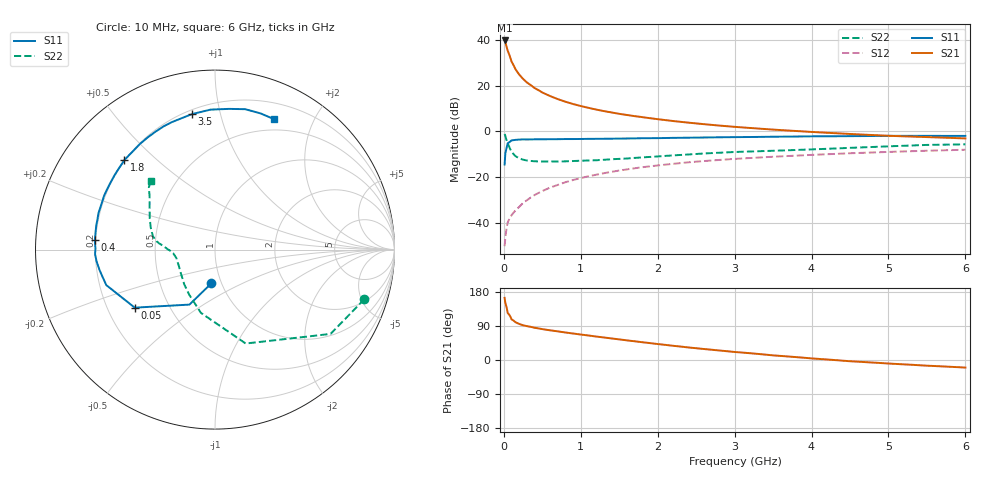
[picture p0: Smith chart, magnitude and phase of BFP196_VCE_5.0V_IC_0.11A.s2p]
! Infineon Technologies  Discrete & RF Semiconductors
! BFP196
! VCE =  5.0 V,  IC = 0.11 A
! Common Emitter S-Parameters:  Jan 2017
# GHz  S  MA  R  50
!  f  S11  S21  S12  S22
! GHz  MAG  ANG  MAG  ANG  MAG  ANG  MAG  ANG
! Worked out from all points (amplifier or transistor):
!   77 points, 10 MHz to 6 GHz, reference 50 ohm
!   highest |S21| = 39.8 dB at 10 MHz (marker M1)
!   |S21| within 3 dB of that: start of sweep to 37.68 MHz
!   unconditionally stable (mu >= 1): 377.6 MHz to 2.387 GHz
!   at 130 MHz: K = 0.78, MSG = 32.0 dB, |S12| = -35.4 dB
!   at 2.2 GHz: K = 1.01, MAG = 8.8 dB, |S12| = -14.2 dB
!   at 6 GHz: K = 0.95, MSG = 2.5 dB, |S12| = -8.0 dB
!   S11 on the Smith chart (normalised r, x): 10 MHz: 0.90, -0.35; 50 MHz: 0.32, -0.29; 400 MHz: 0.20, +0.04; 1.8 GHz: 0.20, +0.40; 3.5 GHz: 0.22, +0.82; 6 GHz: 0.37, +1.48
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0.01  0.1886 -96.0  97.27 163.9  0.0031 80.3  0.8767 -18.4
0.02  0.3378 -114.9  88.67 150.1  0.0049 73.2  0.797 -36.1
0.05  0.5518 -144.1  58.14 124.0  0.0102 56.9  0.5505 -71.9
0.1  0.6372 -161.9  33.52 107.1  0.0147 58.0  0.3609 -102.6
0.15  0.6532 -169.9  23.02 99.8  0.0186 62.2  0.289 -119.9
0.2  0.663 -174.3  17.46 95.1  0.0224 66.4  0.2585 -131.5
0.25  0.6688 -177.9  14.03 91.7  0.0273 67.7  0.241 -139.2
0.3  0.666 179.6  11.73 89.3  0.0313 68.6  0.2312 -145.6
0.4  0.6715 175.4  8.86 85.0  0.0407 70.9  0.2224 -153.6
0.5  0.6725 171.6  7.093 81.5  0.0496 71.0  0.2197 -159.0
0.6  0.6751 168.4  5.934 78.4  0.0591 70.5  0.2205 -163.3
0.7  0.6764 165.5  5.091 75.6  0.0675 70.6  0.2197 -166.4
0.9  0.6805 159.7  3.965 69.9  0.0867 68.5  0.2251 -170.5
1.1  0.687 154.1  3.272 64.7  0.1045 66.6  0.2314 -173.8
1.4  0.693 145.9  2.596 56.9  0.1307 62.3  0.2461 -177.7
1.8  0.7096 135.4  2.051 46.9  0.165 56.8  0.2702 178.5
2.1  0.7169 127.8  1.767 39.9  0.1878 52.4  0.2913 175.9
3.1  0.7517 106.8  1.223 19.6  0.2561 38.2  0.3591 166.2
3.5  0.7658 99.6  1.095 12.2  0.2795 33.4  0.3774 161.4
4.1  0.7807 90.3  0.954 2.8  0.3117 25.9  0.4103 152.5
5.1  0.7994 76.6  0.791 -10.4  0.3604 14.0  0.4784 139.8
6  0.7977 65.7  0.703 -20.0  0.3976 3.9  0.5216 133.2
